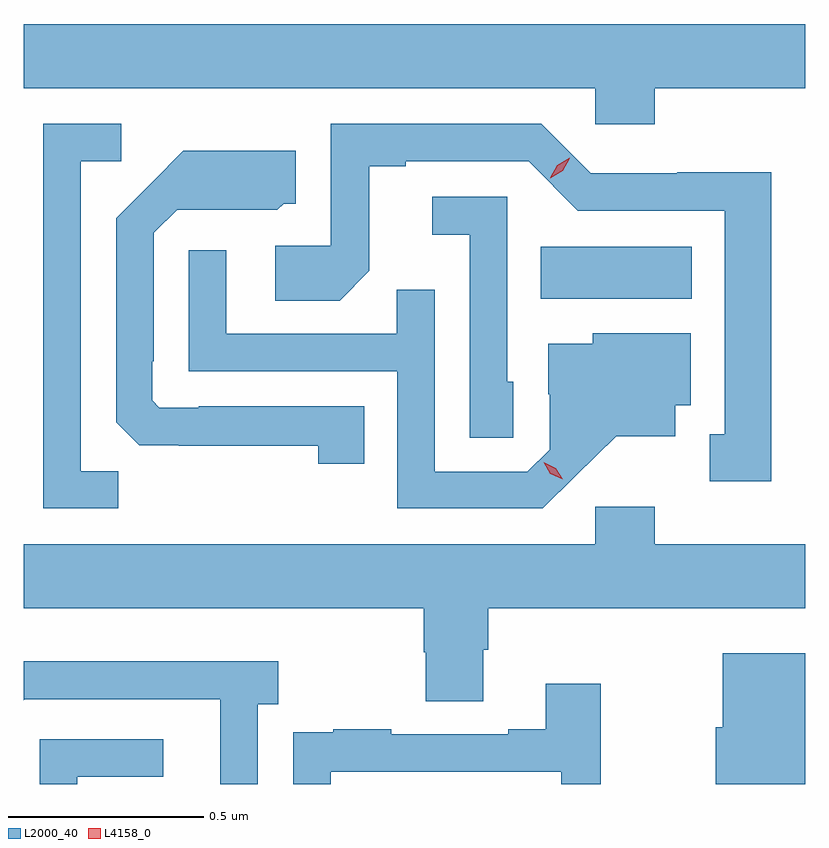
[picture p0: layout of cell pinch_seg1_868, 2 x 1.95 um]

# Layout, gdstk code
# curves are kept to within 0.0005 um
import gdstk
lib = gdstk.Library(unit=1e-6, precision=1e-09)
def R(c, l, rs):  # rectangles x0, y0, x1, y1
    for r in rs: c.add(gdstk.rectangle(r[:2], r[2:], *l))
def P(c, l, *ps):  # polygons
    for p in ps: c.add(gdstk.Polygon(p, *l))
L2000_40 = (2000, 40)
L4158_0 = (4158, 0)

pinch_seg1_868 = lib.new_cell('pinch_seg1_868')
R(pinch_seg1_868, L2000_40, [(485.02,579.164,485.407,579.298)])
P(pinch_seg1_868, L2000_40, [(485.312,579.704),(485.697,579.704),(485.697,579.868),(483.697,579.868),(483.697,579.704),(485.16,579.704),(485.16,579.611),(485.312,579.611)],
  [(483.939,578.723),(483.843,578.723),(483.843,579.516),(483.946,579.516),(483.946,579.612),(483.747,579.612),(483.747,578.628),(483.939,578.628)],
  [(485.611,579.488),(485.37,579.488),(485.37,579.486),(485.148,579.486),(485.022,579.612),(484.482,579.612),(484.482,579.3),(484.341,579.3),(484.341,579.16),(484.505,579.16),(484.581,579.236),(484.581,579.504),(484.675,579.504),(484.675,579.516),(484.989,579.516),(485.115,579.39),(485.492,579.39),(485.492,578.817),(485.453,578.817),(485.453,578.697),(485.611,578.697)],
  [(484.568,578.889),(484.144,578.889),(484.144,578.886),(484.044,578.886),(484.026,578.904),(484.026,579.004),(484.029,579.004),(484.029,579.333),(484.089,579.393),(484.212,579.393),(484.212,579.392),(484.346,579.392),(484.362,579.408),(484.393,579.408),(484.393,579.544),(484.105,579.544),(483.933,579.37),(483.933,578.848),(483.992,578.789),(484.093,578.789),(484.093,578.788),(484.45,578.788),(484.45,578.742),(484.568,578.742)],
  [(484.95,578.952),(484.935,578.952),(484.935,579.426),(484.743,579.426),(484.743,579.329),(484.839,579.329),(484.839,578.809),(484.95,578.809)],
  [(485.11,578.711),(485.213,578.813),(485.365,578.813),(485.365,578.892),(485.404,578.892),(485.404,579.076),(485.154,579.076),(485.154,579.049),(485.039,579.049),(485.039,578.92),(485.043,578.92),(485.043,578.778),(484.986,578.721),(484.749,578.721),(484.749,579.188),(484.651,579.188),(484.651,579.075),(484.215,579.075),(484.215,579.289),(484.119,579.289),(484.119,578.979),(484.653,578.979),(484.653,578.628),(485.026,578.628)],
  [(484.873,578.266),(484.886,578.266),(484.886,578.372),(485.697,578.372),(485.697,578.536),(485.312,578.536),(485.312,578.632),(485.16,578.632),(485.16,578.536),(483.697,578.536),(483.697,578.372),(484.721,578.372),(484.721,578.259),(484.726,578.259),(484.726,578.134),(484.873,578.134)],
  [(485.697,578.257),(485.486,578.257),(485.486,578.067),(485.468,578.067),(485.468,577.922),(485.697,577.922)],
  [(484.296,578.126),(484.348,578.126),(484.348,578.236),(483.697,578.236),(483.697,578.137),(483.699,578.139),(484.199,578.139),(484.199,577.939),(484.2,577.939),(484.2,577.922),(484.296,577.922)],
  [(484.482,577.953),(485.073,577.953),(485.073,577.922),(485.174,577.922),(485.174,578.179),(485.033,578.179),(485.033,578.062),(484.937,578.062),(484.937,578.049),(484.637,578.049),(484.637,578.062),(484.489,578.062),(484.489,578.055),(484.387,578.055),(484.387,577.946),(484.386,577.946),(484.386,577.922),(484.482,577.922)],
  [(483.834,577.941),(484.054,577.941),(484.054,578.037),(483.738,578.037),(483.738,577.922),(483.834,577.922)])
P(pinch_seg1_868, L4158_0, [(485.045,579.473),(485.045,579.474),(485.063,579.506),(485.095,579.525),(485.095,579.525),(485.095,579.524),(485.077,579.492),(485.045,579.473)],
  [(485.076,578.702),(485.045,578.717),(485.028,578.746),(485.028,578.746),(485.028,578.746),(485.059,578.731),(485.076,578.702),(485.076,578.702)])

lib.write_gds('pinch_seg1_868.gds')
